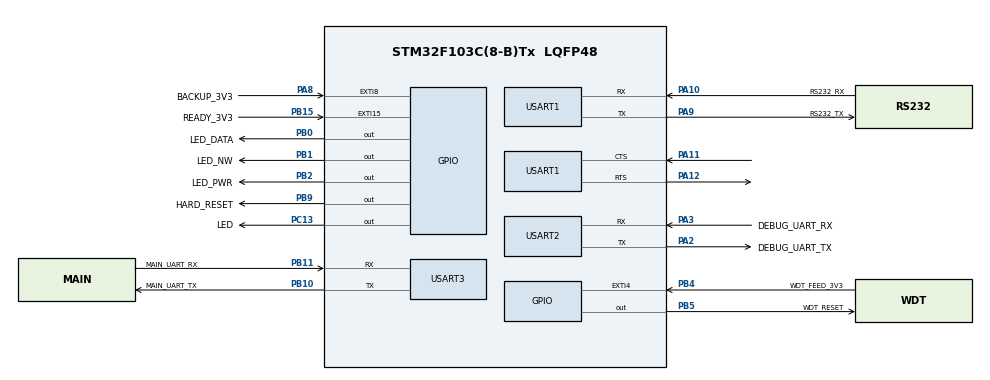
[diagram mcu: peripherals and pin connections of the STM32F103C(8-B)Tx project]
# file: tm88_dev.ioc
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Dma.Request0=USART1_RX
Dma.Request1=USART1_TX
Dma.Request2=USART2_RX
Dma.Request3=USART2_TX
Dma.Request4=USART3_RX
Dma.Request5=USART3_TX
Dma.USART1_RX.0.Direction=DMA_PERIPH_TO_MEMORY
Dma.USART1_RX.0.Instance=DMA1_Channel5
Dma.USART1_RX.0.MemDataAlignment=DMA_MDATAALIGN_BYTE
Dma.USART1_RX.0.MemInc=DMA_MINC_ENABLE
Dma.USART1_RX.0.Mode=DMA_CIRCULAR
Dma.USART1_RX.0.PeriphDataAlignment=DMA_PDATAALIGN_BYTE
Dma.USART1_RX.0.PeriphInc=DMA_PINC_DISABLE
Dma.USART1_RX.0.Priority=DMA_PRIORITY_LOW
Dma.USART1_TX.1.Direction=DMA_MEMORY_TO_PERIPH
Dma.USART1_TX.1.Instance=DMA1_Channel4
Dma.USART1_TX.1.MemDataAlignment=DMA_MDATAALIGN_BYTE
Dma.USART1_TX.1.MemInc=DMA_MINC_ENABLE
Dma.USART1_TX.1.Mode=DMA_NORMAL
Dma.USART1_TX.1.PeriphDataAlignment=DMA_PDATAALIGN_BYTE
Dma.USART1_TX.1.PeriphInc=DMA_PINC_DISABLE
Dma.USART1_TX.1.Priority=DMA_PRIORITY_LOW
Dma.USART2_RX.2.Direction=DMA_PERIPH_TO_MEMORY
Dma.USART2_RX.2.Instance=DMA1_Channel6
Dma.USART2_RX.2.MemDataAlignment=DMA_MDATAALIGN_BYTE
Dma.USART2_RX.2.MemInc=DMA_MINC_ENABLE
Dma.USART2_RX.2.Mode=DMA_CIRCULAR
Dma.USART2_RX.2.PeriphDataAlignment=DMA_PDATAALIGN_BYTE
Dma.USART2_RX.2.PeriphInc=DMA_PINC_DISABLE
Dma.USART2_RX.2.Priority=DMA_PRIORITY_LOW
Dma.USART2_TX.3.Direction=DMA_MEMORY_TO_PERIPH
Dma.USART2_TX.3.Instance=DMA1_Channel7
Dma.USART2_TX.3.MemDataAlignment=DMA_MDATAALIGN_BYTE
Dma.USART2_TX.3.MemInc=DMA_MINC_ENABLE
Dma.USART2_TX.3.Mode=DMA_NORMAL
Dma.USART2_TX.3.PeriphDataAlignment=DMA_PDATAALIGN_BYTE
Dma.USART2_TX.3.PeriphInc=DMA_PINC_DISABLE
Dma.USART2_TX.3.Priority=DMA_PRIORITY_LOW
Dma.USART3_RX.4.Direction=DMA_PERIPH_TO_MEMORY
Dma.USART3_RX.4.Instance=DMA1_Channel3
Dma.USART3_RX.4.MemDataAlignment=DMA_MDATAALIGN_BYTE
Dma.USART3_RX.4.MemInc=DMA_MINC_ENABLE
Dma.USART3_RX.4.Mode=DMA_CIRCULAR
Dma.USART3_RX.4.PeriphDataAlignment=DMA_PDATAALIGN_BYTE
Dma.USART3_RX.4.PeriphInc=DMA_PINC_DISABLE
Dma.USART3_RX.4.Priority=DMA_PRIORITY_LOW
Dma.USART3_TX.5.Direction=DMA_MEMORY_TO_PERIPH
Dma.USART3_TX.5.Instance=DMA1_Channel2
Dma.USART3_TX.5.MemDataAlignment=DMA_MDATAALIGN_BYTE
Dma.USART3_TX.5.MemInc=DMA_MINC_ENABLE
Dma.USART3_TX.5.Mode=DMA_NORMAL
Dma.USART3_TX.5.PeriphDataAlignment=DMA_PDATAALIGN_BYTE
Dma.USART3_TX.5.PeriphInc=DMA_PINC_DISABLE
Dma.USART3_TX.5.Priority=DMA_PRIORITY_LOW
FREERTOS.Events01=myEvent01,Dynamic,NULL
FREERTOS.Tasks01=defaultTask,24,128,StartDefaultTask,Default,NULL,Dynamic,NULL,NULL
FREERTOS.configTOTAL_HEAP_SIZE=8000
Mcu.Family=STM32F1
Mcu.Name=STM32F103C(8-B)Tx
Mcu.Package=LQFP48
NVIC.DMA1_Channel2_IRQn=true\:5\:0\:false\:false\:true\:true\:false\:true\:true
NVIC.DMA1_Channel3_IRQn=true\:5\:0\:false\:false\:true\:true\:false\:true\:true
NVIC.DMA1_Channel4_IRQn=true\:5\:0\:false\:false\:true\:true\:false\:true\:true
NVIC.DMA1_Channel5_IRQn=true\:5\:0\:false\:false\:true\:true\:false\:true\:true
NVIC.DMA1_Channel6_IRQn=true\:5\:0\:false\:false\:true\:true\:false\:true\:true
NVIC.DMA1_Channel7_IRQn=true\:5\:0\:false\:false\:true\:true\:false\:true\:true
NVIC.PriorityGroup=NVIC_PRIORITYGROUP_4
NVIC.RTC_IRQn=true\:5\:0\:false\:false\:true\:true\:true\:true\:true
NVIC.TIM1_UP_IRQn=true\:15\:0\:false\:false\:true\:false\:false\:true\:true
NVIC.TIM3_IRQn=true\:5\:0\:false\:false\:true\:true\:true\:true\:true
NVIC.TimeBase=TIM1_UP_IRQn
NVIC.TimeBaseIP=TIM1
NVIC.USART1_IRQn=true\:5\:0\:false\:false\:true\:true\:true\:true\:true
NVIC.USART2_IRQn=true\:5\:0\:false\:false\:true\:true\:true\:true\:true
NVIC.USART3_IRQn=true\:5\:0\:false\:false\:true\:true\:true\:true\:true
PA10.GPIO_Label=RS232_RX
PA10.Mode=Asynchronous
PA10.Signal=USART1_RX
PA11.Mode=CTS_RTS
PA11.Signal=USART1_CTS
PA12.Mode=CTS_RTS
PA12.Signal=USART1_RTS
PA13.Mode=Trace_Asynchronous_SW
PA13.Signal=SYS_JTMS-SWDIO
PA14.Mode=Trace_Asynchronous_SW
PA14.Signal=SYS_JTCK-SWCLK
PA2.GPIO_Label=DEBUG_UART_TX
PA2.Mode=Asynchronous
PA2.Signal=USART2_TX
PA3.GPIO_Label=DEBUG_UART_RX
PA3.Mode=Asynchronous
PA3.Signal=USART2_RX
PA4.Signal=SPI1_NSS
PA5.Signal=SPI1_SCK
PA6.Signal=SPI1_MISO
PA7.Signal=SPI1_MOSI
PA8.GPIO_Label=BACKUP_3V3
PA8.Signal=GPXTI8
PA9.GPIO_Label=RS232_TX
PA9.Mode=Asynchronous
PA9.Signal=USART1_TX
PB0.GPIO_Label=LED_DATA
PB0.Signal=GPIO_Output
PB1.GPIO_Label=LED_NW
PB1.Signal=GPIO_Output
PB10.GPIO_Label=MAIN_UART_TX
PB10.Mode=Asynchronous
PB10.Signal=USART3_TX
PB11.GPIO_Label=MAIN_UART_RX
PB11.Mode=Asynchronous
PB11.Signal=USART3_RX
PB15.GPIO_Label=READY_3V3
PB15.Signal=GPXTI15
PB2.GPIO_Label=LED_PWR
PB2.Signal=GPIO_Output
PB3.Mode=Trace_Asynchronous_SW
PB3.Signal=SYS_JTDO-TRACESWO
PB4.GPIO_Label=WDT_FEED_3V3
PB4.Signal=GPXTI4
PB5.GPIO_Label=WDT_RESET
PB5.Signal=GPIO_Output
PB9.GPIO_Label=HARD_RESET
PB9.Signal=GPIO_Output
PC13-TAMPER-RTC.GPIO_Label=LED
PC13-TAMPER-RTC.Signal=GPIO_Output
PC14-OSC32_IN.Signal=RCC_OSC32_IN
PC15-OSC32_OUT.Signal=RCC_OSC32_OUT
PD0-OSC_IN.Signal=RCC_OSC_IN
PD1-OSC_OUT.Signal=RCC_OSC_OUT
ProjectManager.HeapSize=0x200
ProjectManager.StackSize=0x400
ProjectManager.TargetToolchain=STM32CubeIDE
RCC.APB1Freq_Value=8000000
RCC.APB2Freq_Value=8000000
RTC.Format=RTC_FORMAT_BIN
TIM3.Period=799
TIM3.Prescaler=6399
USART1.VirtualMode=VM_ASYNC
USART2.VirtualMode=VM_ASYNC
USART3.VirtualMode=VM_ASYNC
VP_FREERTOS_VS_CMSIS_V2.Mode=CMSIS_V2
VP_RTC_No_RTC_Output.Mode=RTC_OUT_NO
VP_RTC_VS_RTC_Activate.Mode=RTC_Enabled
VP_RTC_VS_RTC_Calendar.Mode=RTC_Calendar
VP_SYS_VS_tim1.Mode=TIM1
VP_TIM3_VS_ClockSourceINT.Mode=Internal
board=custom

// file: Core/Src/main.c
/* USER CODE BEGIN Header */
/**
  ******************************************************************************
  * @file           : main.c
  * @brief          : Main program body
  ******************************************************************************
  * @attention
  *
  * Copyright (c) 2023 STMicroelectronics.
  * All rights reserved.
  *
  * This software is licensed under terms that can be found in the LICENSE file
  * in the root directory of this software component.
  * If no LICENSE file comes with this software, it is provided AS-IS.
  *
  ******************************************************************************
  */
/* USER CODE END Header */
#include "main.h"
#include "cmsis_os.h"

/* USER CODE BEGIN Includes */
#include <stdio.h>
#include "hw_per_reset.h"
#include "serial_communication.h"
//#include "boot.h"
#include "wdt_task.h"
//#include "socket.h"
#include "led_indicator.h"
/* USER CODE END Includes */

RTC_HandleTypeDef hrtc;

TIM_HandleTypeDef htim3;

UART_HandleTypeDef huart1;
UART_HandleTypeDef huart2;
UART_HandleTypeDef huart3;
DMA_HandleTypeDef hdma_usart1_rx;
DMA_HandleTypeDef hdma_usart1_tx;
DMA_HandleTypeDef hdma_usart2_rx;
DMA_HandleTypeDef hdma_usart2_tx;
DMA_HandleTypeDef hdma_usart3_rx;
DMA_HandleTypeDef hdma_usart3_tx;

/* Definitions for defaultTask */
osThreadId_t defaultTaskHandle;
const osThreadAttr_t defaultTask_attributes = {
  .name = "defaultTask",
  .stack_size = 128 * 4,
  .priority = (osPriority_t) osPriorityNormal,
};
/* Definitions for myEvent01 */
osEventFlagsId_t myEvent01Handle;
const osEventFlagsAttr_t myEvent01_attributes = {
  .name = "myEvent01"
};
/* USER CODE BEGIN PV */

RTC_TimeTypeDef sTime = {0};
RTC_DateTypeDef sDate = {0};
RTC_AlarmTypeDef sAlarm = {0};

//for testing
char uart_buf[50];
int uart_buf_len;
char time[30];
int time_buffer_len;
char date[30];
int date_buffer_len;
/* USER CODE END PV */

void SystemClock_Config(void);
static void MX_GPIO_Init(void);
static void MX_DMA_Init(void);
static void MX_USART1_UART_Init(void);
static void MX_USART2_UART_Init(void);
static void MX_RTC_Init(void);
static void MX_USART3_UART_Init(void);
static void MX_TIM3_Init(void);
void StartDefaultTask(void *argument);

/* USER CODE BEGIN PFP */
void modem_at_handle(uint8_t *data, uint16_t len);
/* USER CODE END PFP */

int main(void)
{

  /* MCU Configuration--------------------------------------------------------*/

  /* Reset of all peripherals, Initializes the Flash interface and the Systick. */
  HAL_Init();

  /* Configure the system clock */
  SystemClock_Config();

  /* Initialize all configured peripherals */
  MX_GPIO_Init();
  MX_DMA_Init();
  MX_USART1_UART_Init();
  MX_USART2_UART_Init();
  MX_RTC_Init();
  MX_USART3_UART_Init();
  MX_TIM3_Init();

  /* Init scheduler */
  osKernelInitialize();

  /* Create the thread(s) */
  /* creation of defaultTask */
//  defaultTaskHandle = osThreadNew(StartDefaultTask, NULL, &defaultTask_attributes);

  /* USER CODE BEGIN RTOS_THREADS */
  /* add threads, ... */
//  hw_per_reset_init(NULL);
  sercomm_init(NULL);
  wdt_task_init(NULL);
//  boot_init(NULL);
//  socket_init();
  /* USER CODE END RTOS_THREADS */

  /* Create the event(s) */
  /* creation of myEvent01 */
  myEvent01Handle = osEventFlagsNew(&myEvent01_attributes);

  /* Start scheduler */
  osKernelStart();

  /* We should never get here as control is now taken by the scheduler */
  /* Infinite loop */
  while (1)
  {

  }
}

void SystemClock_Config(void)
{
  RCC_OscInitTypeDef RCC_OscInitStruct = {0};
  RCC_ClkInitTypeDef RCC_ClkInitStruct = {0};
  RCC_PeriphCLKInitTypeDef PeriphClkInit = {0};

  /** Initializes the RCC Oscillators according to the specified parameters
  * in the RCC_OscInitTypeDef structure.
  */
  RCC_OscInitStruct.OscillatorType = RCC_OSCILLATORTYPE_HSI|RCC_OSCILLATORTYPE_LSI;
  RCC_OscInitStruct.HSIState = RCC_HSI_ON;
  RCC_OscInitStruct.HSICalibrationValue = RCC_HSICALIBRATION_DEFAULT;
  RCC_OscInitStruct.LSIState = RCC_LSI_ON;
  RCC_OscInitStruct.PLL.PLLState = RCC_PLL_NONE;
  if (HAL_RCC_OscConfig(&RCC_OscInitStruct) != HAL_OK)
  {
    Error_Handler();
  }

  /** Initializes the CPU, AHB and APB buses clocks
  */
  RCC_ClkInitStruct.ClockType = RCC_CLOCKTYPE_HCLK|RCC_CLOCKTYPE_SYSCLK
                              |RCC_CLOCKTYPE_PCLK1|RCC_CLOCKTYPE_PCLK2;
  RCC_ClkInitStruct.SYSCLKSource = RCC_SYSCLKSOURCE_HSI;
  RCC_ClkInitStruct.AHBCLKDivider = RCC_SYSCLK_DIV1;
  RCC_ClkInitStruct.APB1CLKDivider = RCC_HCLK_DIV1;
  RCC_ClkInitStruct.APB2CLKDivider = RCC_HCLK_DIV1;

  if (HAL_RCC_ClockConfig(&RCC_ClkInitStruct, FLASH_LATENCY_0) != HAL_OK)
  {
    Error_Handler();
  }
  PeriphClkInit.PeriphClockSelection = RCC_PERIPHCLK_RTC;
  PeriphClkInit.RTCClockSelection = RCC_RTCCLKSOURCE_LSI;
  if (HAL_RCCEx_PeriphCLKConfig(&PeriphClkInit) != HAL_OK)
  {
    Error_Handler();
  }
}

static void MX_RTC_Init(void)
{

  RTC_DateTypeDef DateToUpdate = {0};

  /** Initialize RTC Only
  */
  hrtc.Instance = RTC;
  hrtc.Init.AsynchPrediv = RTC_AUTO_1_SECOND;
  hrtc.Init.OutPut = RTC_OUTPUTSOURCE_NONE;
  if (HAL_RTC_Init(&hrtc) != HAL_OK)
  {
    Error_Handler();
  }

  /** Initialize RTC and set the Time and Date
  */
  sTime.Hours = 0;
  sTime.Minutes = 0;
  sTime.Seconds = 0;

  if (HAL_RTC_SetTime(&hrtc, &sTime, RTC_FORMAT_BIN) != HAL_OK)
  {
    Error_Handler();
  }
  DateToUpdate.WeekDay = RTC_WEEKDAY_MONDAY;
  DateToUpdate.Month = RTC_MONTH_JANUARY;
  DateToUpdate.Date = 1;
  DateToUpdate.Year = 0;

  if (HAL_RTC_SetDate(&hrtc, &DateToUpdate, RTC_FORMAT_BIN) != HAL_OK)
  {
    Error_Handler();
  }

}

static void MX_TIM3_Init(void)
{

  TIM_ClockConfigTypeDef sClockSourceConfig = {0};
  TIM_MasterConfigTypeDef sMasterConfig = {0};

  htim3.Instance = TIM3;
  htim3.Init.Prescaler = 6399;
  htim3.Init.CounterMode = TIM_COUNTERMODE_UP;
  htim3.Init.Period = 799;
  htim3.Init.ClockDivision = TIM_CLOCKDIVISION_DIV1;
  htim3.Init.AutoReloadPreload = TIM_AUTORELOAD_PRELOAD_DISABLE;
  if (HAL_TIM_Base_Init(&htim3) != HAL_OK)
  {
    Error_Handler();
  }
  sClockSourceConfig.ClockSource = TIM_CLOCKSOURCE_INTERNAL;
  if (HAL_TIM_ConfigClockSource(&htim3, &sClockSourceConfig) != HAL_OK)
  {
    Error_Handler();
  }
  sMasterConfig.MasterOutputTrigger = TIM_TRGO_RESET;
  sMasterConfig.MasterSlaveMode = TIM_MASTERSLAVEMODE_DISABLE;
  if (HAL_TIMEx_MasterConfigSynchronization(&htim3, &sMasterConfig) != HAL_OK)
  {
    Error_Handler();
  }

}

static void MX_USART1_UART_Init(void)
{

  huart1.Instance = USART1;
  huart1.Init.BaudRate = 115200;
  huart1.Init.WordLength = UART_WORDLENGTH_8B;
  huart1.Init.StopBits = UART_STOPBITS_1;
  huart1.Init.Parity = UART_PARITY_NONE;
  huart1.Init.Mode = UART_MODE_TX_RX;
  huart1.Init.HwFlowCtl = UART_HWCONTROL_RTS_CTS;
  huart1.Init.OverSampling = UART_OVERSAMPLING_16;
  if (HAL_UART_Init(&huart1) != HAL_OK)
  {
    Error_Handler();
  }

}

static void MX_USART2_UART_Init(void)
{

  huart2.Instance = USART2;
  huart2.Init.BaudRate = 115200;
  huart2.Init.WordLength = UART_WORDLENGTH_8B;
  huart2.Init.StopBits = UART_STOPBITS_1;
  huart2.Init.Parity = UART_PARITY_NONE;
  huart2.Init.Mode = UART_MODE_TX_RX;
  huart2.Init.HwFlowCtl = UART_HWCONTROL_NONE;
  huart2.Init.OverSampling = UART_OVERSAMPLING_16;
  if (HAL_UART_Init(&huart2) != HAL_OK)
  {
    Error_Handler();
  }

}

static void MX_USART3_UART_Init(void)
{

  huart3.Instance = USART3;
  huart3.Init.BaudRate = 115200;
  huart3.Init.WordLength = UART_WORDLENGTH_8B;
  huart3.Init.StopBits = UART_STOPBITS_1;
  huart3.Init.Parity = UART_PARITY_NONE;
  huart3.Init.Mode = UART_MODE_TX_RX;
  huart3.Init.HwFlowCtl = UART_HWCONTROL_NONE;
  huart3.Init.OverSampling = UART_OVERSAMPLING_16;
  if (HAL_UART_Init(&huart3) != HAL_OK)
  {
    Error_Handler();
  }

}

static void MX_DMA_Init(void)
{

  /* DMA controller clock enable */
  __HAL_RCC_DMA1_CLK_ENABLE();

  /* DMA interrupt init */
  /* DMA1_Channel2_IRQn interrupt configuration */
  HAL_NVIC_SetPriority(DMA1_Channel2_IRQn, 5, 0);
  HAL_NVIC_EnableIRQ(DMA1_Channel2_IRQn);
  /* DMA1_Channel3_IRQn interrupt configuration */
  HAL_NVIC_SetPriority(DMA1_Channel3_IRQn, 5, 0);
  HAL_NVIC_EnableIRQ(DMA1_Channel3_IRQn);
  /* DMA1_Channel4_IRQn interrupt configuration */
  HAL_NVIC_SetPriority(DMA1_Channel4_IRQn, 5, 0);
  HAL_NVIC_EnableIRQ(DMA1_Channel4_IRQn);
  /* DMA1_Channel5_IRQn interrupt configuration */
  HAL_NVIC_SetPriority(DMA1_Channel5_IRQn, 5, 0);
  HAL_NVIC_EnableIRQ(DMA1_Channel5_IRQn);
  /* DMA1_Channel6_IRQn interrupt configuration */
  HAL_NVIC_SetPriority(DMA1_Channel6_IRQn, 5, 0);
  HAL_NVIC_EnableIRQ(DMA1_Channel6_IRQn);
  /* DMA1_Channel7_IRQn interrupt configuration */
  HAL_NVIC_SetPriority(DMA1_Channel7_IRQn, 5, 0);
  HAL_NVIC_EnableIRQ(DMA1_Channel7_IRQn);

}

static void MX_GPIO_Init(void)
{
  GPIO_InitTypeDef GPIO_InitStruct = {0};

  /* GPIO Ports Clock Enable */
  __HAL_RCC_GPIOC_CLK_ENABLE();
  __HAL_RCC_GPIOD_CLK_ENABLE();
  __HAL_RCC_GPIOA_CLK_ENABLE();
  __HAL_RCC_GPIOB_CLK_ENABLE();

  /*Configure GPIO pin Output Level */
  HAL_GPIO_WritePin(LED_GPIO_Port, LED_Pin, GPIO_PIN_RESET);

  /*Configure GPIO pin Output Level */
  HAL_GPIO_WritePin(GPIOB, LED_DATA_Pin|LED_NW_Pin|LED_PWR_Pin|WDT_RESET_Pin
                          |HARD_RESET_Pin, GPIO_PIN_RESET);

  /*Configure GPIO pin : LED_Pin */
  GPIO_InitStruct.Pin = LED_Pin;
  GPIO_InitStruct.Mode = GPIO_MODE_OUTPUT_PP;
  GPIO_InitStruct.Pull = GPIO_NOPULL;
  GPIO_InitStruct.Speed = GPIO_SPEED_FREQ_LOW;
  HAL_GPIO_Init(LED_GPIO_Port, &GPIO_InitStruct);

  /*Configure GPIO pins : PA4 PA5 PA6 PA7 */
  GPIO_InitStruct.Pin = GPIO_PIN_4|GPIO_PIN_5|GPIO_PIN_6|GPIO_PIN_7;
  GPIO_InitStruct.Mode = GPIO_MODE_AF_PP;
  GPIO_InitStruct.Speed = GPIO_SPEED_FREQ_HIGH;
  HAL_GPIO_Init(GPIOA, &GPIO_InitStruct);

  /*Configure GPIO pins : LED_DATA_Pin LED_NW_Pin LED_PWR_Pin WDT_RESET_Pin
                           HARD_RESET_Pin */
  GPIO_InitStruct.Pin = LED_DATA_Pin|LED_NW_Pin|LED_PWR_Pin|WDT_RESET_Pin
                          |HARD_RESET_Pin;
  GPIO_InitStruct.Mode = GPIO_MODE_OUTPUT_PP;
  GPIO_InitStruct.Pull = GPIO_NOPULL;
  GPIO_InitStruct.Speed = GPIO_SPEED_FREQ_LOW;
  HAL_GPIO_Init(GPIOB, &GPIO_InitStruct);

  /*Configure GPIO pins : READY_3V3_Pin WDT_FEED_3V3_Pin */
  GPIO_InitStruct.Pin = READY_3V3_Pin|WDT_FEED_3V3_Pin;
  GPIO_InitStruct.Mode = GPIO_MODE_IT_RISING;
  GPIO_InitStruct.Pull = GPIO_NOPULL;
  HAL_GPIO_Init(GPIOB, &GPIO_InitStruct);

  /*Configure GPIO pin : BACKUP_3V3_Pin */
  GPIO_InitStruct.Pin = BACKUP_3V3_Pin;
  GPIO_InitStruct.Mode = GPIO_MODE_IT_RISING;
  GPIO_InitStruct.Pull = GPIO_NOPULL;
  HAL_GPIO_Init(BACKUP_3V3_GPIO_Port, &GPIO_InitStruct);

}

/* USER CODE BEGIN 4 */

void HAL_GPIO_EXTI_Callback(uint16_t GPIO_Pin){
//	 bool prev
	 if ((GPIO_Pin & BACKUP_3V3_Pin) && (HAL_GPIO_ReadPin(BACKUP_3V3_GPIO_Port, BACKUP_3V3_Pin) == GPIO_PIN_RESET))
	 {
		 led_indicator_client_set_state(LED_INDICATOR_CLIENT_POWER_E, LED_INDICATOR_CLIENT_STATE_POWER_BACKUP_E);
	 }
	 if ((GPIO_Pin & BACKUP_3V3_Pin) && (HAL_GPIO_ReadPin(BACKUP_3V3_GPIO_Port, BACKUP_3V3_Pin) == GPIO_PIN_SET)){
		 led_indicator_client_set_state(LED_INDICATOR_CLIENT_POWER_E, LED_INDICATOR_CLIENT_STATE_POWER_ON_E);
	 }
}

/* USER CODE END 4 */

void StartDefaultTask(void *argument)
{
  /* USER CODE BEGIN 5 */

  /* Infinite loop */
  for(;;)
  {

//	  uint8_t received_flag = osEventFlagsWait(atc_xfer_event_group, ATC_XFER_COMPLETED_E | ATC_XFER_TIMEOUT_E, osFlagsWaitAny, osWaitForever);
//	  if(received_flag & ATC_XFER_COMPLETED_E){
//		HAL_GPIO_TogglePin(LED_GPIO_Port, LED_Pin);
//	  }

//	  uint8_t wdt_flag = osEventFlagsWait(wdtEventFlagHandle, EVENT_FLAG_WDT_E, osFlagsWaitAny, osWaitForever);
//	  if(wdt_flag){
//		  HAL_GPIO_TogglePin(LED_GPIO_Port, LED_Pin);
//	  }
//	char message[] = "tes";
//	HAL_UART_Transmit(&huart1, (uint8_t *)message, sizeof(message), 1000);
//	HAL_GPIO_TogglePin(LED_GPIO_Port, LED_Pin);
//	printf("tes");
//    osDelay(1000);
  }
  /* USER CODE END 5 */
}

void Error_Handler(void)
{
  __disable_irq();
  while (1)
  {
  }
}
